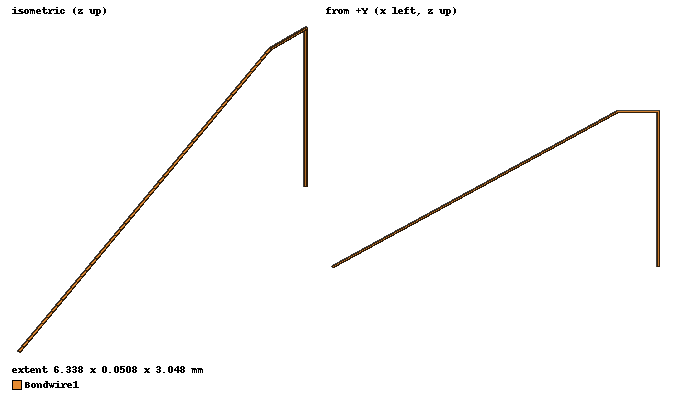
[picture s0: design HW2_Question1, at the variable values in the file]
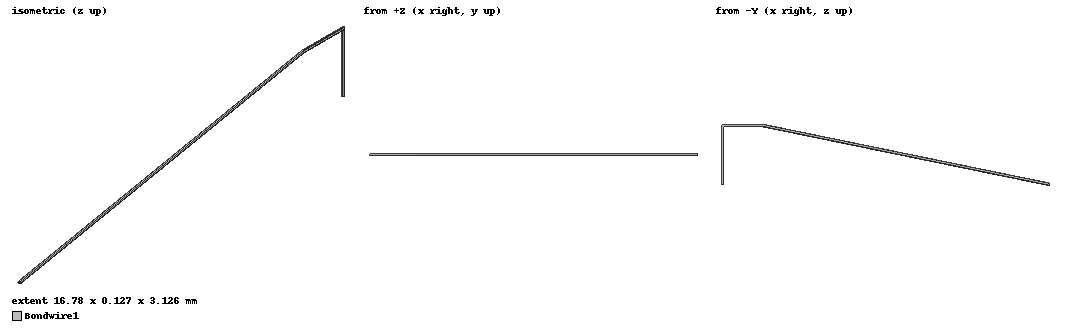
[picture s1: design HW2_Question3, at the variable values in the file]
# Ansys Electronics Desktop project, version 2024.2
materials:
  vacuum: permittivity=1
  copper: permeability=0.999991 conductivity=58000000
  gold: permeability=0.99996 conductivity=41000000
  FR4_epoxy: permittivity=4.4 dielectric_loss_tangent=0.02
  aluminum: permeability=1.000021 conductivity=38000000

design HW2_Question1 (Q3D Extractor, model units mm)
options: SParamCalcMethod=EqTransLine Calculate_Lossy_Dielectrics
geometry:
  Bondwire1 [gold] = bondwire(WireType=JEDEC_4Points WireDiameter=2mil NumSides=6 XPadPos=-0.4mm YPadPos=0mm ZPadPos=0mm XDir=0.7mm YDir=0mm ZDir=0mm Distance=6.3mm h1=3mm h2=0mm alpha=80deg beta=5deg WhichAxis=Z)
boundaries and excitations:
  Source1: Source Faces=Bondwire1.face(at (5.9, 0, 0)) TerminalType=ConstantVoltage Net=Bondwire1
  Bondwire1: SignalNet Objects=Bondwire1
  Sink1: Sink Faces=Bondwire1.face(at (-0.4, 0, 0)) TerminalType=ConstantVoltage Net=Bondwire1
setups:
  Setup1: Matrix AdaptiveFreq=500MHz DC{SolveResOnly Cond{MaxPass=10 MinPass=1 MinConvPass=1 PerError=1 PerRefine=30} Mult{MaxPass=1 MinPass=1 MinConvPass=1 PerError=1 PerRefine=30} AccuracyLevel=Normal} AC{MaxPass=10 MinPass=1 MinConvPass=1 PerError=1 PerRefine=30 ACRLSolverType=ACA} ErrorValue=0.1
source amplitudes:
  Bondwire1:Source1: AC R/L Fields 1A
  Bondwire1: CG Fields 1V 0deg
  Bondwire1:Source1: DC R/L Fields 1A

design HW2_Question2 (Q3D Extractor, model units mm)
options: SParamCalcMethod=EqTransLine Calculate_Lossy_Dielectrics
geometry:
  Box1 [gold] = box(corner=(-0.2mm, 0mm, 0mm), size=(10mm, 10mil, 1mil))
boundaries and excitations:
  Source1: Source Faces=Box1.face(+x) TerminalType=ConstantVoltage Net=Box1
  Box1: SignalNet Objects=Box1
  Sink1: Sink Faces=Box1.face(-x) TerminalType=ConstantVoltage Net=Box1
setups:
  Setup1: Matrix AdaptiveFreq=500MHz DC{SolveResOnly Cond{MaxPass=10 MinPass=1 MinConvPass=1 PerError=1 PerRefine=30} Mult{MaxPass=1 MinPass=1 MinConvPass=1 PerError=1 PerRefine=30} AccuracyLevel=Normal} AC{MaxPass=10 MinPass=1 MinConvPass=1 PerError=1 PerRefine=30 ACRLSolverType=ACA} ErrorValue=0.1
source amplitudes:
  Box1:Source1: AC R/L Fields 1A
  Box1: CG Fields 1V 0deg
  Box1:Source1: DC R/L Fields 1A

design HW2_Question3 (Q3D Extractor, model units mm)
options: SParamCalcMethod=EqTransLine Calculate_Lossy_Dielectrics
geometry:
  Bondwire1 [aluminum] = bondwire(WireType=JEDEC_4Points WireDiameter=5mil NumSides=6 XPadPos=-0.5mm YPadPos=0mm ZPadPos=0mm XDir=0.9mm YDir=0mm ZDir=0mm Distance=16.7mm h1=3mm h2=0mm alpha=80deg beta=5deg WhichAxis=Z)
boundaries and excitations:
  Sink1: Sink Faces=Bondwire1.face(at (-0.5, 0, 0)) TerminalType=ConstantVoltage Net=Bondwire1
  Bondwire1: SignalNet Objects=Bondwire1
  Source1: Source Faces=Bondwire1.face(at (16.2, 0, 0)) TerminalType=ConstantVoltage Net=Bondwire1
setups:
  Setup1: Matrix AdaptiveFreq=500MHz DC{Cond{MaxPass=10 MinPass=1 MinConvPass=1 PerError=1 PerRefine=30} Mult{MaxPass=1 MinPass=1 MinConvPass=1 PerError=1 PerRefine=30} AccuracyLevel=Normal} ErrorValue=0.1
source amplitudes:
  Bondwire1:Source1: AC R/L Fields 1A
  Bondwire1: CG Fields 1V 0deg
  Bondwire1:Source1: DC R/L Fields 1A

design HW2_Question3b (Q3D Extractor, model units mm)
options: SParamCalcMethod=EqTransLine Calculate_Lossy_Dielectrics
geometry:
  Cylinder1 [aluminum] = cylinder(axis=Z, base_centre=(0mm, 0mm, 0mm), radius=2.5mil, height=10mm)
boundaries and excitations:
  Sink1: Sink Faces=Cylinder1.face(-z end) TerminalType=ConstantVoltage Net=Cylinder1
  Cylinder1: SignalNet Objects=Cylinder1
  Source1: Source Faces=Cylinder1.face(+z end) TerminalType=ConstantVoltage Net=Cylinder1
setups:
  Setup1: Matrix AdaptiveFreq=500MHz DC{Cond{MaxPass=10 MinPass=1 MinConvPass=1 PerError=1 PerRefine=30} Mult{MaxPass=1 MinPass=1 MinConvPass=1 PerError=1 PerRefine=30} AccuracyLevel=Normal} ErrorValue=0.1
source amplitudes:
  Cylinder1:Source1: AC R/L Fields 1A
  Cylinder1: CG Fields 1V 0deg
  Cylinder1:Source1: DC R/L Fields 1A
